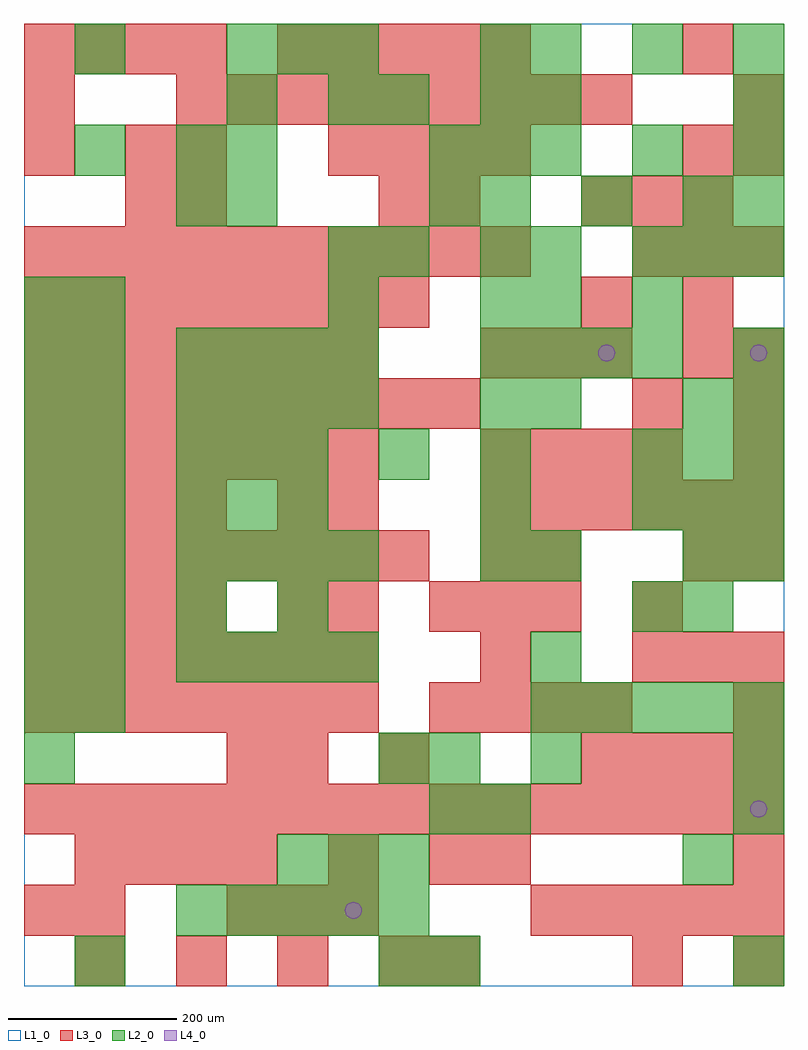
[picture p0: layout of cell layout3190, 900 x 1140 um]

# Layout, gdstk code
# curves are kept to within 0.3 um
import gdstk
lib = gdstk.Library(unit=1e-6, precision=1e-09)
def R(c, l, rs):  # rectangles x0, y0, x1, y1
    for r in rs: c.add(gdstk.rectangle(r[:2], r[2:], *l))
def A(c, l, x, y, w, h, nx, ny, dx, dy):  # array of equal rectangles
    R(c, l, [(x+i*dx, y+j*dy, x+i*dx+w, y+j*dy+h) for i in range(nx) for j in range(ny)])
def P(c, l, *ps):  # polygons
    for p in ps: c.add(gdstk.Polygon(p, *l))
L1_0 = (1, 0)
L2_0 = (2, 0)
L3_0 = (3, 0)
L4_0 = (4, 0)

layout3190 = lib.new_cell('layout3190')
R(layout3190, L1_0, [(0,0,900,1140)])
A(layout3190, L2_0, 180, 60, 60, 60, 5, 1, 60, 0)
A(layout3190, L2_0, 300, 120, 60, 60, 3, 1, 60, 0)
A(layout3190, L2_0, 0, 240, 60, 60, 1, 10, 0, 60)
A(layout3190, L2_0, 600, 240, 60, 60, 1, 3, 0, 120)
A(layout3190, L2_0, 600, 300, 60, 60, 5, 1, 60, 0)
A(layout3190, L2_0, 180, 360, 60, 60, 4, 2, 60, 120)
A(layout3190, L2_0, 60, 420, 60, 60, 3, 1, 120, 0)
A(layout3190, L2_0, 60, 480, 60, 60, 1, 6, 0, 60)
A(layout3190, L2_0, 540, 480, 60, 60, 1, 4, 0, 60)
A(layout3190, L2_0, 180, 540, 60, 60, 3, 2, 60, 60)
A(layout3190, L2_0, 720, 540, 60, 60, 3, 2, 60, 60)
A(layout3190, L2_0, 180, 660, 60, 60, 4, 2, 60, 60)
A(layout3190, L2_0, 540, 720, 60, 60, 4, 1, 60, 0)
A(layout3190, L2_0, 720, 840, 60, 60, 3, 1, 60, 0)
A(layout3190, L2_0, 240, 900, 60, 60, 1, 3, 0, 60)
A(layout3190, L2_0, 540, 900, 60, 60, 3, 1, 120, 0)
A(layout3190, L2_0, 840, 900, 60, 60, 1, 3, 0, 60)
A(layout3190, L2_0, 480, 960, 60, 60, 3, 1, 60, 0)
A(layout3190, L2_0, 240, 1080, 60, 60, 3, 1, 60, 0)
A(layout3190, L2_0, 600, 1080, 60, 60, 3, 1, 120, 0)
R(layout3190, L2_0, [(60,0,120,60), (420,0,480,60), (480,0,540,60), (840,0,900,60), (780,120,840,180), (480,180,540,240), (540,180,600,240), (840,180,900,240), (420,240,480,300), (480,240,540,300), (840,240,900,300), (60,300,120,360), (60,360,120,420), (720,420,780,480), (780,420,840,480), (780,480,840,540), (840,480,900,540), (420,600,480,660), (600,660,660,720), (780,660,840,720), (840,660,900,720), (840,720,900,780), (360,780,420,840), (540,780,600,840), (600,780,660,840), (720,780,780,840), (360,840,420,900), (420,840,480,900), (540,840,600,900), (600,840,660,900), (180,900,240,960), (480,900,540,960), (60,960,120,1020), (180,960,240,1020), (720,960,780,1020), (360,1020,420,1080), (420,1020,480,1080), (540,1020,600,1080), (600,1020,660,1080), (60,1080,120,1140), (540,1080,600,1140)])
A(layout3190, L3_0, 60, 0, 60, 60, 4, 1, 120, 0)
A(layout3190, L3_0, 240, 60, 60, 60, 3, 1, 60, 0)
A(layout3190, L3_0, 600, 60, 60, 60, 5, 1, 60, 0)
A(layout3190, L3_0, 60, 120, 60, 60, 4, 1, 60, 0)
A(layout3190, L3_0, 840, 120, 60, 60, 1, 3, 0, 180)
A(layout3190, L3_0, 0, 180, 60, 60, 15, 1, 60, 0)
A(layout3190, L3_0, 660, 240, 60, 60, 4, 1, 60, 0)
A(layout3190, L3_0, 0, 300, 60, 60, 7, 2, 60, 60)
A(layout3190, L3_0, 480, 300, 60, 60, 4, 1, 60, 0)
A(layout3190, L3_0, 720, 360, 60, 60, 3, 2, 60, 480)
A(layout3190, L3_0, 0, 420, 60, 60, 4, 2, 60, 120)
A(layout3190, L3_0, 480, 420, 60, 60, 3, 1, 60, 0)
A(layout3190, L3_0, 0, 480, 60, 60, 8, 2, 60, 300)
A(layout3190, L3_0, 540, 540, 60, 60, 6, 1, 60, 0)
A(layout3190, L3_0, 0, 600, 60, 60, 7, 2, 60, 120)
A(layout3190, L3_0, 540, 600, 60, 60, 4, 1, 60, 0)
A(layout3190, L3_0, 840, 600, 60, 60, 1, 3, 0, 60)
A(layout3190, L3_0, 0, 660, 60, 60, 9, 1, 60, 0)
A(layout3190, L3_0, 540, 720, 60, 60, 3, 1, 60, 0)
A(layout3190, L3_0, 0, 840, 60, 60, 10, 1, 60, 0)
A(layout3190, L3_0, 660, 900, 60, 60, 3, 1, 60, 0)
A(layout3190, L3_0, 360, 960, 60, 60, 4, 1, 60, 0)
A(layout3190, L3_0, 180, 1020, 60, 60, 9, 1, 60, 0)
A(layout3190, L3_0, 0, 1080, 60, 60, 4, 1, 60, 0)
A(layout3190, L3_0, 300, 1080, 60, 60, 5, 1, 60, 0)
R(layout3190, L3_0, [(480,0,540,60), (720,0,780,60), (840,0,900,60), (0,60,60,120), (60,60,120,120), (360,120,420,180), (480,120,540,180), (540,120,600,180), (240,240,300,300), (300,240,360,300), (420,240,480,300), (540,360,600,420), (300,420,360,480), (360,420,420,480), (720,420,780,480), (540,480,600,540), (600,480,660,540), (780,480,840,540), (300,540,360,600), (360,540,420,600), (720,660,780,720), (780,720,840,780), (660,780,720,840), (780,780,840,840), (120,900,180,960), (180,900,240,960), (420,900,480,960), (480,900,540,960), (0,960,60,1020), (120,960,180,1020), (180,960,240,1020), (780,960,840,1020), (840,960,900,1020), (0,1020,60,1080), (840,1020,900,1080), (780,1080,840,1140)])
P(layout3190, L4_0, [(400,90),(399.239,93.827),(397.071,97.071),(393.827,99.239),(390,100),(386.173,99.239),(382.929,97.071),(380.761,93.827),(380,90),(380.761,86.173),(382.929,82.929),(386.173,80.761),(390,80),(393.827,80.761),(397.071,82.929),(399.239,86.173)],
  [(700,750),(699.239,753.827),(697.071,757.071),(693.827,759.239),(690,760),(686.173,759.239),(682.929,757.071),(680.761,753.827),(680,750),(680.761,746.173),(682.929,742.929),(686.173,740.761),(690,740),(693.827,740.761),(697.071,742.929),(699.239,746.173)],
  [(880,210),(879.239,213.827),(877.071,217.071),(873.827,219.239),(870,220),(866.173,219.239),(862.929,217.071),(860.761,213.827),(860,210),(860.761,206.173),(862.929,202.929),(866.173,200.761),(870,200),(873.827,200.761),(877.071,202.929),(879.239,206.173)],
  [(880,750),(879.239,753.827),(877.071,757.071),(873.827,759.239),(870,760),(866.173,759.239),(862.929,757.071),(860.761,753.827),(860,750),(860.761,746.173),(862.929,742.929),(866.173,740.761),(870,740),(873.827,740.761),(877.071,742.929),(879.239,746.173)])

lib.write_gds('layout3190.gds')
